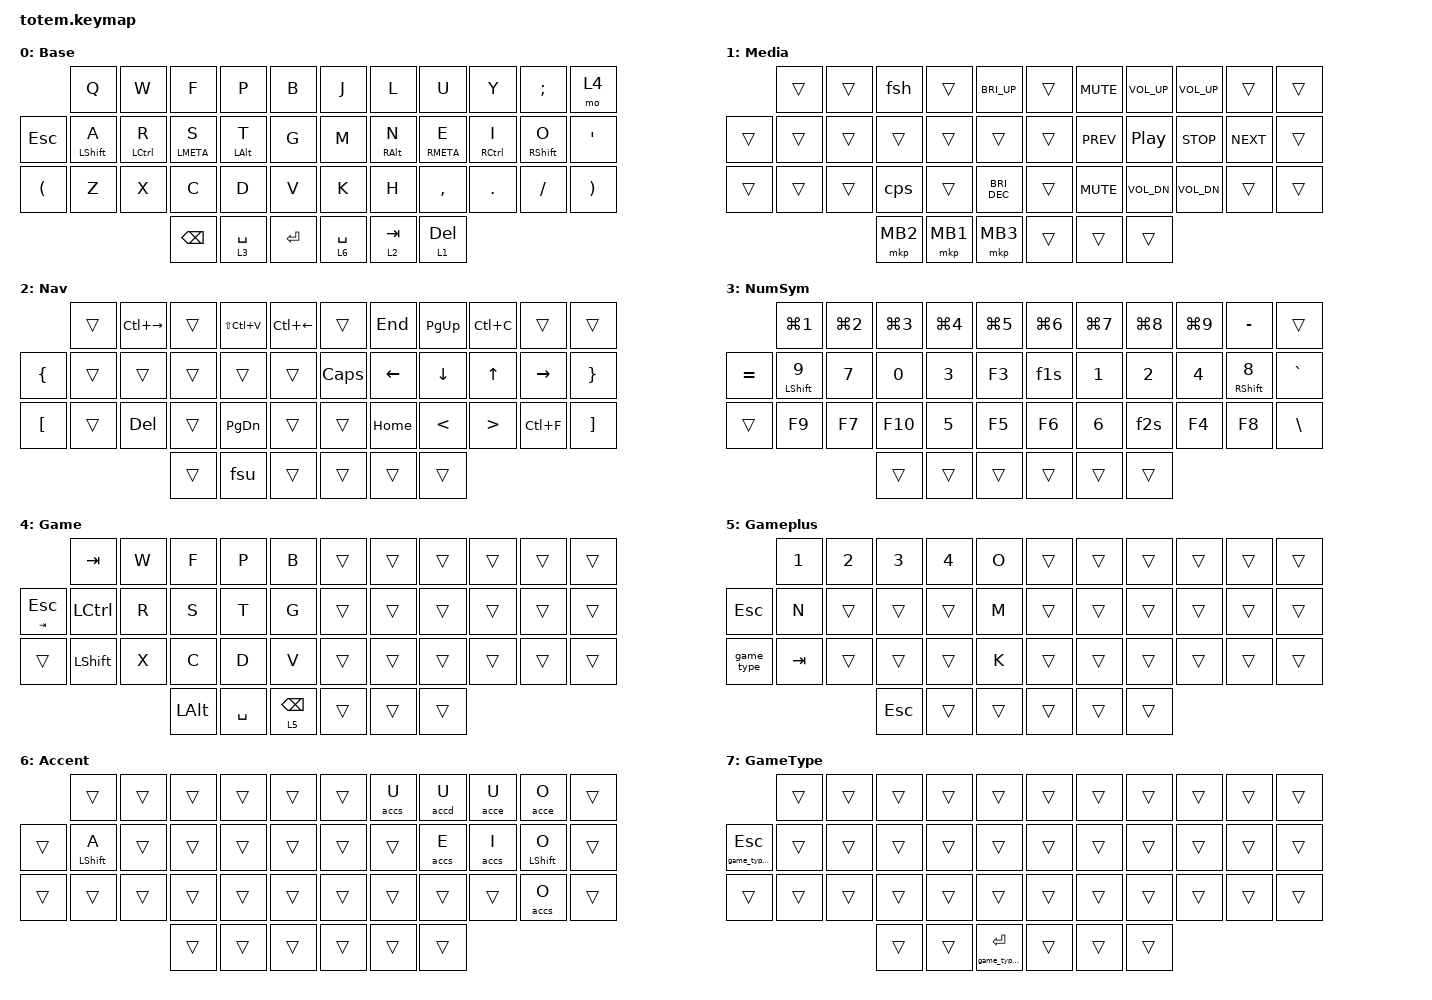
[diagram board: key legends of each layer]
//
//                                                        ▀▀▀▀▀     ▀▀▀▀▀          ▀▀█▀▀
//                                                        ▄▀▀▀▄  ▄  ▄▀▀▀▄  ▄  ▄▀▀▀▄  █  ▄▀▀▀▄
//                                                        █   █  █  █   █  █  █   █  █  █   █
//                                                         ▀▀▀   █   ▀▀▀   █   ▀▀▀   ▀   ▀▀▀
//                                                               █      ▄▄▄█▄▄▄    █   █
//                                                               ▀      █  █  █     █▄█
//                                                             ▀▀▀▀▀    █  █  █      ▀
//                                                                      ▀  ▀  ▀
//
// ▄▄▄▄▄▄▄▄▄▄▄▄▄▄▄▄▄▄▄▄▄▄▄▄▄▄▄▄▄▄▄▄▄▄▄▄▄▄▄▄▄▄▄▄▄▄▄▄▄▄▄▄▄▄▄▄▄▄▄▄▄▄▄▄▄▄▄▄▄▄▄▄▄▄▄▄▄▄▄▄▄▄▄▄▄▄▄▄▄▄▄▄▄▄▄▄▄▄▄▄▄▄▄▄▄▄▄▄▄▄▄▄▄▄▄▄▄▄▄▄▄▄▄▄▄▄▄▄▄▄▄▄▄▄▄▄▄▄▄▄▄▄▄▄▄▄▄▄▄

#include <behaviors.dtsi>
#include <dt-bindings/zmk/keys.h>
#include <dt-bindings/zmk/mouse.h>

#define Base        0
#define Media       1
#define Nav         2
#define NumSym      3
#define Game        4
#define Gameplus    5
#define Accent      6

&mt {
    quick-tap-ms = <100>;
    global-quick-tap;
    flavor = "tap-preferred";
    tapping-term-ms = <170>;
};

&lt {
    tapping-term-ms = <240>;
    flavor = "balanced";
    quick-tap-ms = <150>;
};

/ {
    behaviors {
        hm: homerow_mods {
            compatible = "zmk,behavior-hold-tap";
            label = "HOMEROW_MODS";
            #binding-cells = <2>;
            flavor = "balanced";
            tapping-term-ms = <150>;
            global-quick-tap;
            bindings = <&kp>, <&kp>;
        };

        fsu: flip_shift_underscore {
            compatible = "zmk,behavior-mod-morph";
            label = "FLIP_SHIFT_UNDERSCORE";
            bindings = <&kp UNDER>, <&kp MINUS>;

            #binding-cells = <0>;
            mods = <(MOD_LSFT|MOD_RSFT)>;
        };

        f1s: f1or11 {
            compatible = "zmk,behavior-mod-morph";
            label = "F1OR11";
            bindings = <&kp F1>, <&kp F11>;

            #binding-cells = <0>;
            mods = <(MOD_LSFT|MOD_RSFT)>;
        };

        f2s: f2_or_f12 {
            compatible = "zmk,behavior-mod-morph";
            label = "F2_OR_F12";
            bindings = <&kp F2>, <&kp F12>;

            #binding-cells = <0>;
            mods = <(MOD_LSFT|MOD_RSFT)>;
        };

        sqns: single_quote_no_shift {
            compatible = "zmk,behavior-mod-morph";
            label = "SINGLE_QUOTE_NO_SHIFT";
            bindings = <&kp SQT>, <&kp SQT>;

            #binding-cells = <0>;
            mods = <(MOD_LSFT|MOD_RSFT)>;
        };

        dqns: double_quote_no_shift {
            compatible = "zmk,behavior-mod-morph";
            label = "DOUBLE_QUOTE_NO_SHIFT";
            bindings = <&kp DQT>, <&kp DQT>;

            #binding-cells = <0>;
            mods = <(MOD_LSFT|MOD_RSFT)>;
        };

        eqns: equal_no_shift {
            compatible = "zmk,behavior-mod-morph";
            label = "EQUAL_NO_SHIFT";
            bindings = <&kp EQUAL>, <&kp EQUAL>;

            #binding-cells = <0>;
            mods = <(MOD_LSFT|MOD_RSFT)>;
        };

        df: double_function {
            compatible = "zmk,behavior-hold-tap";
            label = "DOUBLE_FUNCTION";
            bindings = <&kp>, <&kp>;

            #binding-cells = <2>;
            tapping-term-ms = <150>;
        };

        hmaccs: homerow_mods_accent_single {
            compatible = "zmk,behavior-hold-tap";
            label = "HOMEROW_MODS_ACCENT_SINGLE";
            #binding-cells = <2>;
            flavor = "balanced";
            tapping-term-ms = <150>;
            global-quick-tap;
            bindings = <&kp>, <&accs>;
        };

        hmaccd: homerow_mods_accent_double {
            compatible = "zmk,behavior-hold-tap";
            label = "HOMEROW_MODS_ACCENT_DOUBLE";
            #binding-cells = <2>;
            flavor = "balanced";
            tapping-term-ms = <150>;
            global-quick-tap;
            bindings = <&kp>, <&accd>;
        };
    };

    combos {
        compatible = "zmk,combos";

        combo_capsword {
            bindings = <&caps_word>;
            key-positions = <12 21>;
            timeout-ms = <30>;
            require-prior-idle-ms = <50>;
            layers = <0>;
        };
    };

    macros {
        cps: copy_shot {
            compatible = "zmk,behavior-macro";
            #binding-cells = <0>;
            bindings = <&kp LG(R) &kp C>;
            label = "COPY_SHOT";
        };

        fsh: full_screen_shot {
            compatible = "zmk,behavior-macro";
            #binding-cells = <0>;
            bindings = <&kp LG(R) &kp F>;
            label = "FULL_SCREEN_SHOT";
        };

        acc: accent {
            compatible = "zmk,behavior-macro-two-param";
            #binding-cells = <2>;
            bindings =
                <&macro_press>,
                <&kp RALT &macro_param_1to1>,
                <&macro_tap>,
                <&kp MACRO_PLACEHOLDER &macro_param_2to1>,
                <&macro_tap>,
                <&kp MACRO_PLACEHOLDER>,
                <&macro_release>,
                <&kp RALT>;
        };

        accs: accent_single_quote {
            compatible = "zmk,behavior-macro-one-param";
            #binding-cells = <1>;
            bindings =
                <&macro_press>,
                <&kp RALT>,
                <&macro_tap>,
                <&sqns &macro_param_1to1 &kp MACRO_PLACEHOLDER>,
                <&macro_release>,
                <&kp RALT>;

            label = "ACCENT_SINGLE_QUOTE";
        };

        accd: accent_double_quote {
            compatible = "zmk,behavior-macro-one-param";
            #binding-cells = <1>;
            bindings =
                <&macro_press>,
                <&kp RALT>,
                <&macro_tap>,
                <&dqns &macro_param_1to1 &kp MACRO_PLACEHOLDER>,
                <&macro_release>,
                <&kp RALT>;

            label = "ACCENT_DOUBLE_QUOTE";
        };

        acce: accent_equal {
            compatible = "zmk,behavior-macro-one-param";
            #binding-cells = <1>;
            bindings =
                <&macro_press>,
                <&kp RALT>,
                <&macro_tap>,
                <&eqns &macro_param_1to1 &kp MACRO_PLACEHOLDER>,
                <&macro_release>,
                <&kp RALT>;

            label = "ACCENT_EQUAL";
        };

        game_type: game_type {
            compatible = "zmk,behavior-macro";
            #binding-cells = <0>;
            bindings = <&kp ENTER &to 7>;
            label = "GAME_TYPE";
        };

        game_type_exit: game_type_exit {
            compatible = "zmk,behavior-macro-one-param";
            #binding-cells = <1>;
            bindings = <&macro_param_1to1 &kp MACRO_PLACEHOLDER &to 4>;
            label = "GAME_TYPE_EXIT";
        };
    };

    keymap {
        compatible = "zmk,keymap";

        Base {
            label = "Base";
            bindings = <
            &kp Q        &kp W        &kp F          &kp P        &kp B        &kp J        &kp L       &kp U         &kp Y        &kp SEMI     &mo 4
&kp ESCAPE  &hm LSHFT A  &hm LCTRL R  &hm LMETA S    &hm LALT T   &kp G        &kp M        &hm RALT N  &hm RMETA E   &hm RCTRL I  &hm RSHFT O  &kp APOS
&kp LPAR    &kp Z        &kp X        &kp C          &kp D        &kp V        &kp K        &kp H       &kp COMMA     &kp DOT      &kp SLASH    &kp RPAR
                                      &kp BACKSPACE  &lt 3 SPACE  &kp ENTER    &lt 6 SPACE  &lt 2 TAB   &lt 1 DELETE
            >;
        };

        Media {
            label = "Media";
            bindings = <
        &trans  &trans  &fsh      &trans    &kp C_BRI_UP     &trans  &kp C_MUTE  &kp C_VOL_UP  &kp C_VOL_UP  &trans      &trans
&trans  &trans  &trans  &trans    &trans    &trans           &trans  &kp C_PREV  &kp C_PP      &kp C_STOP    &kp C_NEXT  &trans
&trans  &trans  &trans  &cps      &trans    &kp C_BRI_DEC    &trans  &kp C_MUTE  &kp C_VOL_DN  &kp C_VOL_DN  &trans      &trans
                        &mkp MB2  &mkp MB1  &mkp MB3         &trans  &trans      &trans
            >;
        };

        Nav {
            label = "Nav";
            bindings = <
          &trans  &kp LC(RIGHT)  &trans  &kp LS(LC(V))  &kp LC(LEFT)    &trans    &kp END   &kp PG_UP  &kp LC(C)  &trans     &trans
&kp LBRC  &trans  &trans         &trans  &trans         &trans          &kp CAPS  &kp LEFT  &kp DOWN   &kp UP     &kp RIGHT  &kp RIGHT_BRACE
&kp LBKT  &trans  &kp DEL        &trans  &kp PG_DN      &trans          &trans    &kp HOME  &kp LT     &kp GT     &kp LC(F)  &kp RBKT
                                 &trans  &fsu           &trans          &trans    &trans    &trans
            >;
        };

        NumSym {
            label = "NumSym";
            bindings = <
           &kp LG(N1)    &kp LG(N2)  &kp LG(N3)  &kp LG(N4)  &kp LG(N5)    &kp LG(N6)  &kp LG(N7)  &kp LG(N8)  &kp LG(N9)  &kp MINUS     &trans
&kp EQUAL  &hm LSHFT N9  &kp N7      &kp N0      &kp N3      &kp F3        &f1s        &kp N1      &kp N2      &kp N4      &hm RSHFT N8  &kp GRAVE
&trans     &kp F9        &kp F7      &kp F10     &kp N5      &kp F5        &kp F6      &kp N6      &f2s        &kp F4      &kp F8        &kp BSLH
                                     &trans      &trans      &trans        &trans      &trans      &trans
            >;
        };

        Game {
            label = "Game";
            bindings = <
             &kp TAB    &kp W  &kp F     &kp P      &kp B              &trans  &trans  &trans  &trans  &trans  &trans
&df TAB ESC  &kp LCTRL  &kp R  &kp S     &kp T      &kp G              &trans  &trans  &trans  &trans  &trans  &trans
&trans       &kp LSHFT  &kp X  &kp C     &kp D      &kp V              &trans  &trans  &trans  &trans  &trans  &trans
                               &kp LALT  &kp SPACE  &lt 5 BACKSPACE    &trans  &trans  &trans
            >;
        };

        Gameplus {
            label = "Gameplus";
            bindings = <
            &kp NUMBER_1  &kp NUMBER_2  &kp NUMBER_3  &kp NUMBER_4  &kp O     &trans  &trans  &trans  &trans  &trans  &trans
&kp ESC     &kp N         &trans        &trans        &trans        &kp M     &trans  &trans  &trans  &trans  &trans  &trans
&game_type  &kp TAB       &trans        &trans        &trans        &kp K     &trans  &trans  &trans  &trans  &trans  &trans
                                        &kp ESCAPE    &trans        &trans    &trans  &trans  &trans
            >;
        };

        Accent {
            bindings = <
        &trans            &trans  &trans  &trans  &trans    &trans  &accs U  &accd U  &acce U  &acce O               &trans
&trans  &hmaccs LSHIFT A  &trans  &trans  &trans  &trans    &trans  &trans   &accs E  &accs I  &hmaccd LEFT_SHIFT O  &trans
&trans  &trans            &trans  &trans  &trans  &trans    &trans  &trans   &trans   &trans   &accs O               &trans
                                  &trans  &trans  &trans    &trans  &trans   &trans
            >;
        };

        GameType {
            bindings = <
                     &trans  &trans  &trans  &trans  &trans                   &trans  &trans  &trans  &trans  &trans  &trans
&game_type_exit ESC  &trans  &trans  &trans  &trans  &trans                   &trans  &trans  &trans  &trans  &trans  &trans
&trans               &trans  &trans  &trans  &trans  &trans                   &trans  &trans  &trans  &trans  &trans  &trans
                                     &trans  &trans  &game_type_exit ENTER    &trans  &trans  &trans
            >;
        };
    };
};
